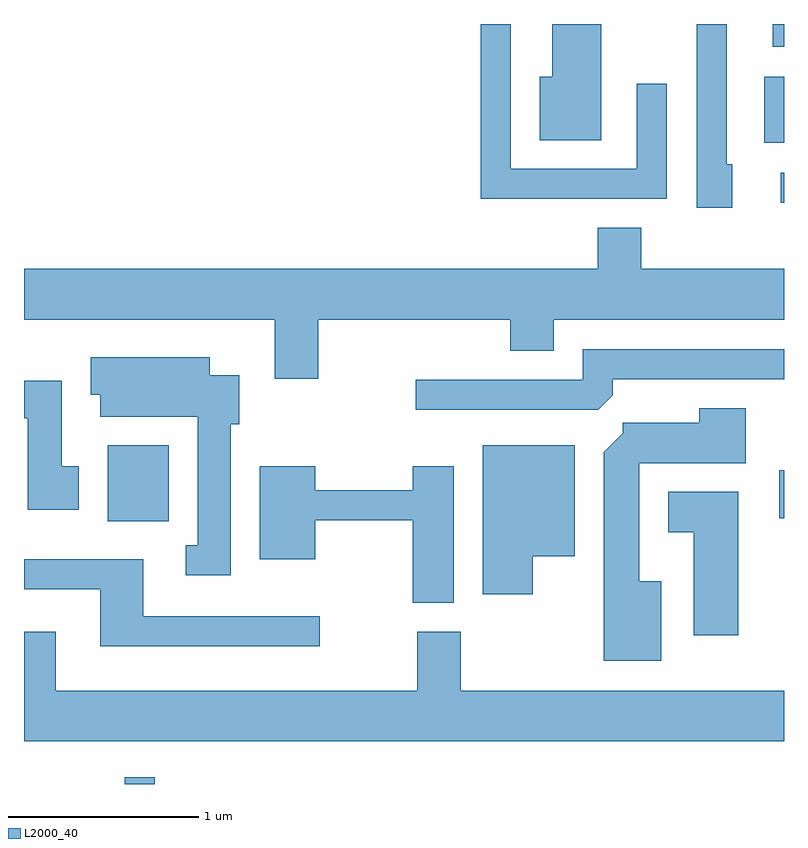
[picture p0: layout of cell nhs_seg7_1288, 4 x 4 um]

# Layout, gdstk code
import gdstk
lib = gdstk.Library(unit=1e-6, precision=1e-09)
def R(c, l, rs):  # rectangles x0, y0, x1, y1
    for r in rs: c.add(gdstk.rectangle(r[:2], r[2:], *l))
def P(c, l, *ps):  # polygons
    for p in ps: c.add(gdstk.Polygon(p, *l))
L2000_40 = (2000, 40)

nhs_seg7_1288 = lib.new_cell('nhs_seg7_1288')
R(nhs_seg7_1288, L2000_40, [(224.141,1776.252,224.299,1776.288), (224.051,1777.636,224.374,1778.034), (227.586,1777.651,227.611,1777.904), (227.593,1779.311,227.611,1779.469), (227.506,1779.626,227.611,1779.974), (227.553,1780.131,227.611,1780.252)])
P(nhs_seg7_1288, L2000_40, [(227.339,1779.514),(227.309,1779.514),(227.309,1780.252),(227.151,1780.252),(227.151,1779.286),(227.339,1779.286)],
  [(226.994,1779.938),(226.836,1779.938),(226.836,1779.489),(226.174,1779.489),(226.174,1780.252),(226.016,1780.252),(226.016,1779.331),(226.994,1779.331)],
  [(226.649,1780.252),(226.391,1780.252),(226.391,1779.974),(226.326,1779.974),(226.326,1779.641),(226.649,1779.641)],
  [(225.159,1778.696),(226.171,1778.696),(226.171,1778.531),(226.399,1778.531),(226.399,1778.696),(227.611,1778.696),(227.611,1778.964),(226.859,1778.964),(226.859,1779.179),(226.631,1779.179),(226.631,1778.964),(223.611,1778.964),(223.611,1778.696),(224.931,1778.696),(224.931,1778.386),(225.159,1778.386)],
  [(226.709,1778.297),(226.709,1778.381),(227.611,1778.381),(227.611,1778.539),(226.551,1778.539),(226.551,1778.379),(225.673,1778.379),(225.673,1778.221),(226.634,1778.221)],
  [(224.699,1778.146),(224.744,1778.146),(224.744,1778.404),(224.589,1778.404),(224.589,1778.499),(223.961,1778.499),(223.961,1778.301),(224.011,1778.301),(224.011,1778.186),(224.526,1778.186),(224.526,1777.509),(224.463,1777.509),(224.463,1777.351),(224.699,1777.351)],
  [(223.899,1777.924),(223.809,1777.924),(223.809,1778.374),(223.611,1778.374),(223.611,1778.176),(223.631,1778.176),(223.631,1777.696),(223.899,1777.696)],
  [(226.964,1777.319),(226.849,1777.319),(226.849,1777.941),(227.409,1777.941),(227.409,1778.229),(227.166,1778.229),(227.166,1778.154),(226.761,1778.154),(226.761,1778.097),(226.661,1777.997),(226.661,1776.901),(226.964,1776.901)],
  [(226.289,1777.451),(226.509,1777.451),(226.509,1778.034),(226.026,1778.034),(226.026,1777.251),(226.289,1777.251)],
  [(225.874,1777.924),(225.656,1777.924),(225.656,1777.799),(225.144,1777.799),(225.144,1777.924),(224.851,1777.924),(224.851,1777.436),(225.144,1777.436),(225.144,1777.641),(225.656,1777.641),(225.656,1777.206),(225.874,1777.206)],
  [(227.369,1777.789),(227.001,1777.789),(227.001,1777.576),(227.136,1777.576),(227.136,1777.036),(227.369,1777.036)],
  [(225.168,1777.134),(224.239,1777.134),(224.239,1777.434),(223.611,1777.434),(223.611,1777.276),(224.011,1777.276),(224.011,1776.976),(225.168,1776.976)],
  [(225.681,1777.054),(225.681,1776.744),(223.779,1776.744),(223.779,1777.054),(223.611,1777.054),(223.611,1776.476),(227.611,1776.476),(227.611,1776.744),(225.909,1776.744),(225.909,1777.054)])

lib.write_gds('nhs_seg7_1288.gds')
